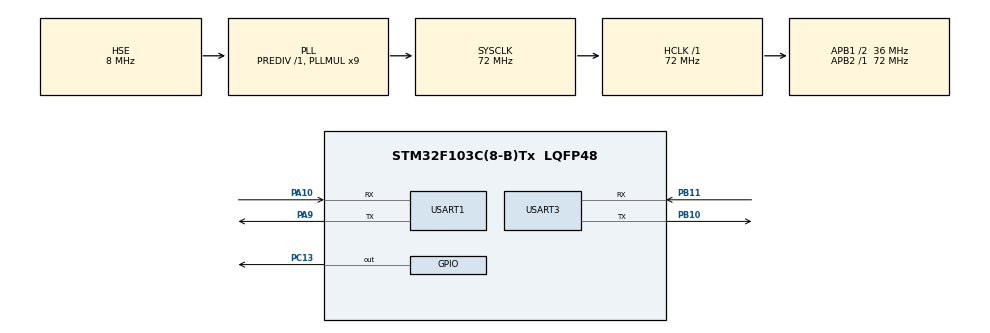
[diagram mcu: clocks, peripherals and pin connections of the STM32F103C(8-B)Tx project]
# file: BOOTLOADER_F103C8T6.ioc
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Mcu.Family=STM32F1
Mcu.Name=STM32F103C(8-B)Tx
Mcu.Package=LQFP48
NVIC.PriorityGroup=NVIC_PRIORITYGROUP_4
PA10.Mode=Asynchronous
PA10.Signal=USART1_RX
PA13.Mode=Serial_Wire
PA13.Signal=SYS_JTMS-SWDIO
PA14.Mode=Serial_Wire
PA14.Signal=SYS_JTCK-SWCLK
PA9.Mode=Asynchronous
PA9.Signal=USART1_TX
PB10.Mode=Asynchronous
PB10.Signal=USART3_TX
PB11.Mode=Asynchronous
PB11.Signal=USART3_RX
PC13-TAMPER-RTC.Signal=GPIO_Output
PD0-OSC_IN.Mode=HSE-External-Oscillator
PD0-OSC_IN.Signal=RCC_OSC_IN
PD1-OSC_OUT.Mode=HSE-External-Oscillator
PD1-OSC_OUT.Signal=RCC_OSC_OUT
ProjectManager.HeapSize=0x200
ProjectManager.StackSize=0x400
ProjectManager.TargetToolchain=STM32CubeIDE
RCC.AHBFreq_Value=72000000
RCC.APB1CLKDivider=RCC_HCLK_DIV2
RCC.APB1Freq_Value=36000000
RCC.APB1TimFreq_Value=72000000
RCC.APB2Freq_Value=72000000
RCC.APB2TimFreq_Value=72000000
RCC.HCLKFreq_Value=72000000
RCC.PLLMUL=RCC_PLL_MUL9
RCC.PLLSourceVirtual=RCC_PLLSOURCE_HSE
RCC.SYSCLKFreq_VALUE=72000000
RCC.SYSCLKSource=RCC_SYSCLKSOURCE_PLLCLK
RCC.USBFreq_Value=72000000
USART1.VirtualMode=VM_ASYNC
USART3.VirtualMode=VM_ASYNC
VP_CRC_VS_CRC.Mode=CRC_Activate
board=custom

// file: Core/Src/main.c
/* USER CODE BEGIN Header */
/**
  ******************************************************************************
  * @file           : main.c
  * @brief          : Main program body
  ******************************************************************************
  * @attention
  *
  * Copyright (c) 2025 STMicroelectronics.
  * All rights reserved.
  *
  * This software is licensed under terms that can be found in the LICENSE file
  * in the root directory of this software component.
  * If no LICENSE file comes with this software, it is provided AS-IS.
  *
  ******************************************************************************
  */
/* USER CODE END Header */
#include "main.h"

/* USER CODE BEGIN Includes */
#include <stdio.h>
#include "ota_update.h"
/* USER CODE END Includes */

CRC_HandleTypeDef hcrc;

UART_HandleTypeDef huart1;
UART_HandleTypeDef huart3;

void SystemClock_Config(void);
static void MX_GPIO_Init(void);
static void MX_CRC_Init(void);
static void MX_USART1_UART_Init(void);
static void MX_USART3_UART_Init(void);

/* USER CODE BEGIN 0 */
void bootloader_main(void)
{
	uint8_t rx_byte = 0;
	HAL_StatusTypeDef status;
	// Wait for 1 byte for up to 3 seconds
	status = HAL_UART_Receive(&huart3, &rx_byte, 1, UART_TIMEOUT_MS);

	if (status == HAL_OK && rx_byte == BOOT_CMD)
	{
		printf("BOOT_CMD received...entering bootloader mode\n\r");
		bootloader_read_uart_data();
	}
	else
	{
		printf("No valid BOOT_CMD received...jumping to application\n\r");
		bootloader_jump_to_user_app(APP_START_ADDRESS);
	}
}

#ifdef __GNUC__
  /* With GCC, small printf (option LD Linker->Libraries->Small printf
     set to 'Yes') calls __io_putchar() */
int __io_putchar(int ch)
#else
int fputc(int ch, FILE *f)
#endif /* __GNUC__ */
{
  /* Place your implementation of fputc here */
  /* e.g. write a character to the UART3 and Loop until the end of transmission */
  HAL_UART_Transmit(&huart1, (uint8_t *)&ch, 1, HAL_MAX_DELAY);

  return ch;
}
/* USER CODE END 0 */

int main(void)
{

  /* MCU Configuration--------------------------------------------------------*/

  /* Reset of all peripherals, Initializes the Flash interface and the Systick. */
  HAL_Init();

  /* Configure the system clock */
  SystemClock_Config();

  /* Initialize all configured peripherals */
  MX_GPIO_Init();
  MX_CRC_Init();
  MX_USART1_UART_Init();
  MX_USART3_UART_Init();

  /* Infinite loop */
  while (1)
  {

  }
}

void SystemClock_Config(void)
{
  RCC_OscInitTypeDef RCC_OscInitStruct = {0};
  RCC_ClkInitTypeDef RCC_ClkInitStruct = {0};

  /** Initializes the RCC Oscillators according to the specified parameters
  * in the RCC_OscInitTypeDef structure.
  */
  RCC_OscInitStruct.OscillatorType = RCC_OSCILLATORTYPE_HSE;
  RCC_OscInitStruct.HSEState = RCC_HSE_ON;
  RCC_OscInitStruct.HSEPredivValue = RCC_HSE_PREDIV_DIV1;
  RCC_OscInitStruct.HSIState = RCC_HSI_ON;
  RCC_OscInitStruct.PLL.PLLState = RCC_PLL_ON;
  RCC_OscInitStruct.PLL.PLLSource = RCC_PLLSOURCE_HSE;
  RCC_OscInitStruct.PLL.PLLMUL = RCC_PLL_MUL9;
  if (HAL_RCC_OscConfig(&RCC_OscInitStruct) != HAL_OK)
  {
    Error_Handler();
  }

  /** Initializes the CPU, AHB and APB buses clocks
  */
  RCC_ClkInitStruct.ClockType = RCC_CLOCKTYPE_HCLK|RCC_CLOCKTYPE_SYSCLK
                              |RCC_CLOCKTYPE_PCLK1|RCC_CLOCKTYPE_PCLK2;
  RCC_ClkInitStruct.SYSCLKSource = RCC_SYSCLKSOURCE_PLLCLK;
  RCC_ClkInitStruct.AHBCLKDivider = RCC_SYSCLK_DIV1;
  RCC_ClkInitStruct.APB1CLKDivider = RCC_HCLK_DIV2;
  RCC_ClkInitStruct.APB2CLKDivider = RCC_HCLK_DIV1;

  if (HAL_RCC_ClockConfig(&RCC_ClkInitStruct, FLASH_LATENCY_2) != HAL_OK)
  {
    Error_Handler();
  }
}

static void MX_CRC_Init(void)
{

  hcrc.Instance = CRC;
  if (HAL_CRC_Init(&hcrc) != HAL_OK)
  {
    Error_Handler();
  }

}

static void MX_USART1_UART_Init(void)
{

  huart1.Instance = USART1;
  huart1.Init.BaudRate = 115200;
  huart1.Init.WordLength = UART_WORDLENGTH_8B;
  huart1.Init.StopBits = UART_STOPBITS_1;
  huart1.Init.Parity = UART_PARITY_NONE;
  huart1.Init.Mode = UART_MODE_TX_RX;
  huart1.Init.HwFlowCtl = UART_HWCONTROL_NONE;
  huart1.Init.OverSampling = UART_OVERSAMPLING_16;
  if (HAL_UART_Init(&huart1) != HAL_OK)
  {
    Error_Handler();
  }

}

static void MX_USART3_UART_Init(void)
{

  huart3.Instance = USART3;
  huart3.Init.BaudRate = 115200;
  huart3.Init.WordLength = UART_WORDLENGTH_8B;
  huart3.Init.StopBits = UART_STOPBITS_1;
  huart3.Init.Parity = UART_PARITY_NONE;
  huart3.Init.Mode = UART_MODE_TX_RX;
  huart3.Init.HwFlowCtl = UART_HWCONTROL_NONE;
  huart3.Init.OverSampling = UART_OVERSAMPLING_16;
  if (HAL_UART_Init(&huart3) != HAL_OK)
  {
    Error_Handler();
  }

}

static void MX_GPIO_Init(void)
{
  GPIO_InitTypeDef GPIO_InitStruct = {0};

  /* GPIO Ports Clock Enable */
  __HAL_RCC_GPIOC_CLK_ENABLE();
  __HAL_RCC_GPIOD_CLK_ENABLE();
  __HAL_RCC_GPIOB_CLK_ENABLE();
  __HAL_RCC_GPIOA_CLK_ENABLE();

  /*Configure GPIO pin Output Level */
  HAL_GPIO_WritePin(GPIOC, GPIO_PIN_13, GPIO_PIN_RESET);

  /*Configure GPIO pin : PC13 */
  GPIO_InitStruct.Pin = GPIO_PIN_13;
  GPIO_InitStruct.Mode = GPIO_MODE_OUTPUT_PP;
  GPIO_InitStruct.Pull = GPIO_NOPULL;
  GPIO_InitStruct.Speed = GPIO_SPEED_FREQ_LOW;
  HAL_GPIO_Init(GPIOC, &GPIO_InitStruct);

}

void Error_Handler(void)
{
  __disable_irq();
  while (1)
  {
  }
}
